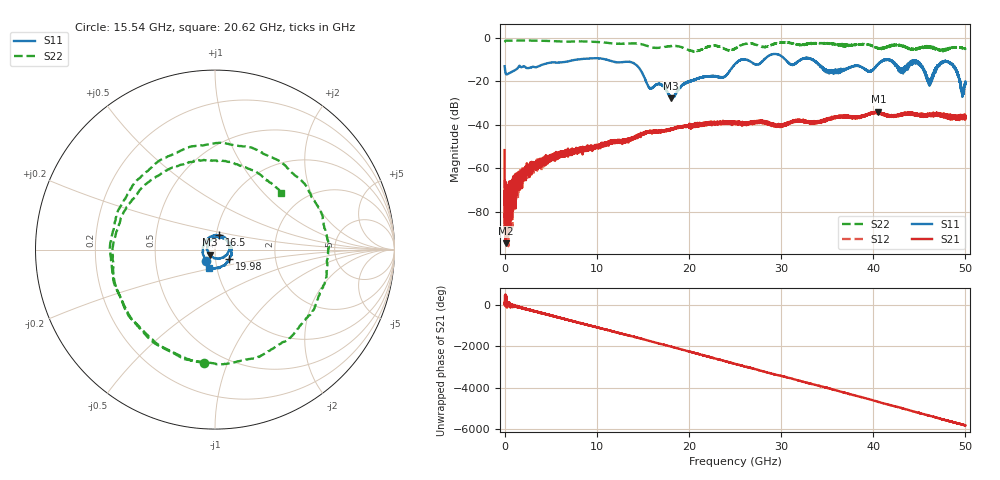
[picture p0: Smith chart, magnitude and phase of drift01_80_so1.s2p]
!Created with skrf (http://scikit-rf.org).
# Hz S RI R 50.0
!freq ReS11 ImS11 ReS21 ImS21 ReS12 ImS12 ReS22 ImS22
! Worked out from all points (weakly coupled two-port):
!   10001 points, 300 kHz to 50 GHz, reference 50 ohm
!   highest |S21| = -34.03 dB at 40.56 GHz (marker M1); lowest = -94.4 dB at 110.3 MHz (marker M2)
!   lowest |S11| = -27.9 dB at 18.09 GHz (marker M3), VSWR 1.08, Z = 47.1 - j2.67 ohm
!   |S11| at or under -10 dB: start of sweep to 8.031 GHz; 10.92 GHz to 25.86 GHz (14.94 GHz wide, 81.3 % of centre); 41.69 GHz to end of sweep (the widest 3 of 24)
!   |S22| runs from -6.4 to -1.3 dB; largest |S21 - S12| = 0.0043
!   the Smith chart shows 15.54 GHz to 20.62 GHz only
!   S11 on the Smith chart (normalised r, x): 15.54 GHz: 0.90, -0.11; 16.5 GHz: 1.04, +0.17; 19.98 GHz: 1.17, -0.13; 20.62 GHz: 0.92, -0.19
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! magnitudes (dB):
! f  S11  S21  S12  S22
! 300 kHz  -13.2  -51.6  -65.0  -2.1
! 110.3 MHz  -16.4  -94.4  -76.7  -1.5
! 255.3 MHz  -16.9  -69.2  -81.1  -1.4
! 2.81 GHz  -13.8  -60.9  -59.8  -1.4
! 8.335 GHz  -9.9  -51.1  -52.3  -1.8
! 13.86 GHz  -11.5  -46.8  -46.8  -2.7
! 15.54 GHz  -21.8  -43.4  -43.2  -4.0
! 16.5 GHz  -21.5  -43.2  -43.0  -4.8
! 16.67 GHz  -21.3  -43.4  -43.1  -4.8
! 18.09 GHz  -27.9  -42.1  -42.0  -3.9
! 19.98 GHz  -20.2  -40.5  -40.5  -5.7
! 20.62 GHz  -19.5  -40.9  -40.1  -6.2
! 25 GHz  -12.2  -39.2  -38.9  -5.0
! 33.34 GHz  -10.0  -38.8  -39.0  -2.7
! 35.33 GHz  -15.7  -37.1  -37.2  -2.8
! 40.56 GHz  -12.2  -34.0  -34.3  -5.1
! 41.67 GHz  -10.0  -35.6  -35.9  -3.9
! 43.07 GHz  -15.5  -35.1  -35.2  -3.8
! 44.82 GHz  -11.1  -35.5  -35.5  -5.0
! 46.12 GHz  -19.5  -35.4  -35.2  -4.2
! 48.05 GHz  -11.2  -36.1  -36.1  -5.2
! 50 GHz  -21.3  -36.5  -36.3  -5.2
